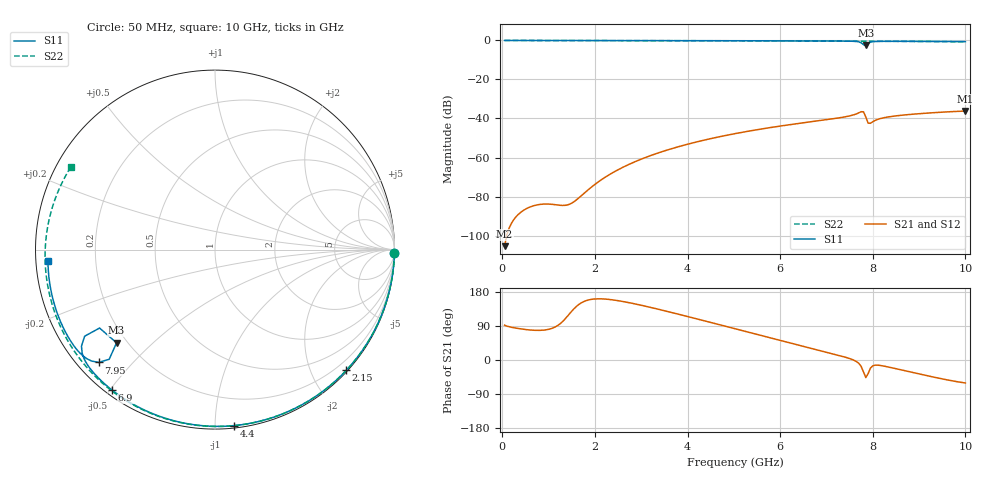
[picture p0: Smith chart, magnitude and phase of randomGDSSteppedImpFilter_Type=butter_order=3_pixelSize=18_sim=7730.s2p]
! freq	dB(S11)	phase(S11)	dB(S12)	phase(S12)
!  dB(S21)	phase(S21)	dB(S22)	phase(S22)
!S-par simulation data
#  GHz  S  DB  R 50
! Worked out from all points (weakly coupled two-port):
!   200 points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, 50 MHz to 10 GHz, reference 50 ohm
!   highest |S21| = -36.19 dB at 10 GHz (marker M1); lowest = -105.4 dB at 50 MHz (marker M2)
!   lowest |S11| = -2.4 dB at 7.85 GHz (marker M3), VSWR 7.17, Z = 8.05 - j19.5 ohm
!   |S11| at or under -10 dB: nowhere
!   |S22| runs from -0.7 to 0.0 dB; largest |S21 - S12| = 0
!   S11 on the Smith chart (normalised r, x): 50 MHz: open; 2.15 GHz: 0.02, -2.56; 4.4 GHz: 0.02, -1.11; 6.9 GHz: 0.02, -0.51; 7.95 GHz: 0.06, -0.40; 10 GHz: 0.03, -0.03
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0.05  -0.00 -1.0  -105.45 92.0  -105.45 92.0  -0.00 -1.1
0.85  -0.02 -17.1  -83.94 78.4  -83.94 78.4  -0.02 -19.3
1.65  -0.04 -32.9  -80.76 146.3  -80.76 146.3  -0.05 -37.1
1.75  -0.04 -34.9  -78.69 153.6  -78.69 153.6  -0.05 -39.3
2.15  -0.05 -42.6  -71.23 161.3  -71.23 161.3  -0.06 -48.0
2.7  -0.07 -53.0  -63.91 152.2  -63.91 152.2  -0.08 -59.7
3.4  -0.09 -66.0  -57.39 133.0  -57.39 133.0  -0.10 -74.3
4.4  -0.12 -83.8  -50.86 102.3  -50.86 102.3  -0.14 -94.4
5.05  -0.15 -95.0  -47.65 81.8  -47.65 81.8  -0.17 -107.1
6.7  -0.24 -122.8  -41.56 30.1  -41.56 30.1  -0.27 -138.9
6.9  -0.26 -126.2  -40.93 23.9  -40.93 23.9  -0.29 -142.7
7.45  -0.35 -136.5  -38.93 5.8  -38.93 5.8  -0.34 -153.5
7.7  -0.74 -144.1  -37.09 -9.0  -37.09 -9.0  -0.36 -158.5
7.75  -1.19 -146.4  -36.53 -17.1  -36.53 -17.1  -0.37 -159.5
7.8  -2.19 -145.8  -36.58 -32.0  -36.58 -32.0  -0.37 -160.5
7.85  -2.44 -136.6  -39.25 -46.4  -39.25 -46.4  -0.38 -161.6
7.9  -1.42 -134.0  -42.40 -35.9  -42.40 -35.9  -0.38 -162.6
7.95  -0.89 -135.9  -42.44 -21.2  -42.44 -21.2  -0.39 -163.6
8.1  -0.50 -141.1  -40.51 -13.5  -40.51 -13.5  -0.41 -166.6
8.35  -0.43 -146.7  -39.14 -18.9  -39.14 -18.9  -0.43 -171.8
9.2  -0.49 -161.9  -37.20 -42.2  -37.20 -42.2  -0.54 169.6
10  -0.60 -176.1  -36.19 -60.7  -36.19 -60.7  -0.67 150.3
